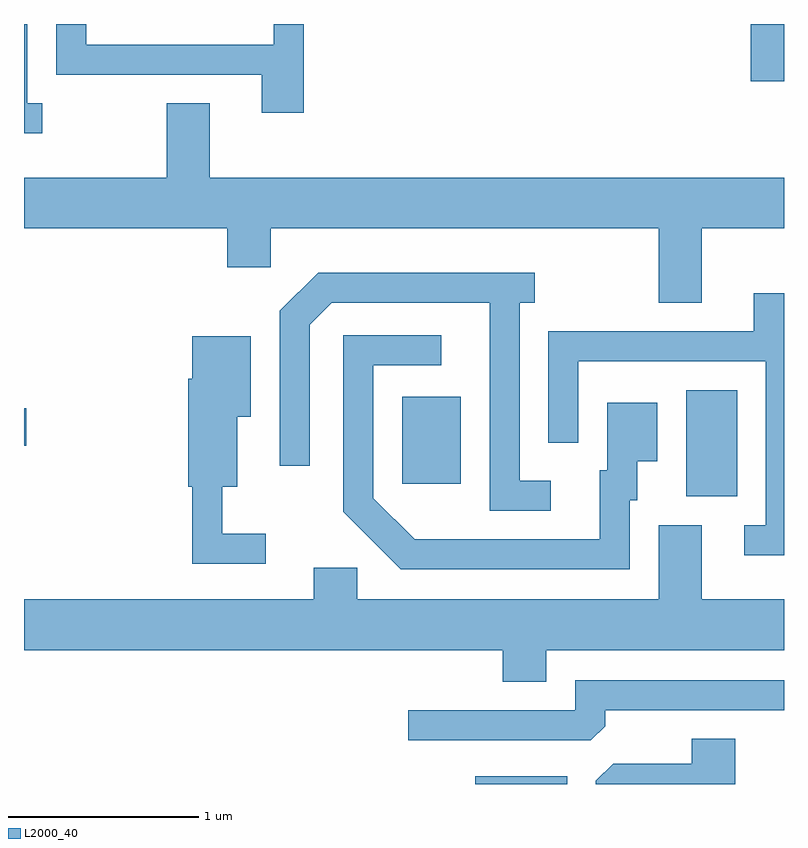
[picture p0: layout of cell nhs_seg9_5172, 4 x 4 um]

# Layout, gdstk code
import gdstk
lib = gdstk.Library(unit=1e-6, precision=1e-09)
def R(c, l, rs):  # rectangles x0, y0, x1, y1
    for r in rs: c.add(gdstk.rectangle(r[:2], r[2:], *l))
def P(c, l, *ps):  # polygons
    for p in ps: c.add(gdstk.Polygon(p, *l))
L2000_40 = (2000, 40)

nhs_seg9_5172 = lib.new_cell('nhs_seg9_5172')
R(nhs_seg9_5172, L2000_40, [(339.986,2004.432,340.469,2004.474), (341.096,2005.946,341.364,2006.504), (339.601,2006.011,339.909,2006.469), (337.611,2006.211,337.624,2006.409), (341.436,2008.131,341.611,2008.432)])
P(nhs_seg9_5172, L2000_40, [(339.084,2008.432),(338.926,2008.432),(338.926,2008.324),(337.939,2008.324),(337.939,2008.432),(337.781,2008.432),(337.781,2008.166),(338.861,2008.166),(338.861,2007.966),(339.084,2007.966)],
  [(337.708,2008.014),(337.629,2008.014),(337.629,2008.432),(337.611,2008.432),(337.611,2007.856),(337.708,2007.856)],
  [(341.179,2007.356),(341.611,2007.356),(341.611,2007.624),(338.589,2007.624),(338.589,2008.014),(338.361,2008.014),(338.361,2007.624),(337.611,2007.624),(337.611,2007.356),(338.681,2007.356),(338.681,2007.151),(338.909,2007.151),(338.909,2007.356),(340.951,2007.356),(340.951,2006.966),(341.179,2006.966)],
  [(340.383,2006.029),(340.219,2006.029),(340.219,2006.966),(340.298,2006.966),(340.298,2007.124),(339.159,2007.124),(338.956,2006.922),(338.956,2006.108),(339.114,2006.108),(339.114,2006.849),(339.232,2006.966),(340.061,2006.966),(340.061,2005.871),(340.383,2005.871)],
  [(341.611,2007.014),(341.451,2007.014),(341.451,2006.814),(340.371,2006.814),(340.371,2006.228),(340.529,2006.228),(340.529,2006.656),(341.516,2006.656),(341.516,2005.794),(341.403,2005.794),(341.403,2005.636),(341.611,2005.636)],
  [(340.799,2005.926),(340.839,2005.926),(340.839,2006.131),(340.944,2006.131),(340.944,2006.439),(340.681,2006.439),(340.681,2006.084),(340.641,2006.084),(340.641,2005.719),(339.667,2005.719),(339.449,2005.937),(339.449,2006.636),(339.808,2006.636),(339.808,2006.794),(339.291,2006.794),(339.291,2005.864),(339.594,2005.561),(340.799,2005.561)],
  [(338.883,2005.749),(338.654,2005.749),(338.654,2005.996),(338.734,2005.996),(338.734,2006.366),(338.804,2006.366),(338.804,2006.789),(338.496,2006.789),(338.496,2006.564),(338.476,2006.564),(338.476,2005.996),(338.496,2005.996),(338.496,2005.591),(338.883,2005.591)],
  [(340.359,2005.136),(341.611,2005.136),(341.611,2005.404),(341.179,2005.404),(341.179,2005.794),(340.951,2005.794),(340.951,2005.404),(339.364,2005.404),(339.364,2005.569),(339.136,2005.569),(339.136,2005.404),(337.611,2005.404),(337.611,2005.136),(340.131,2005.136),(340.131,2004.971),(340.359,2004.971)],
  [(340.669,2004.737),(340.669,2004.821),(341.611,2004.821),(341.611,2004.979),(340.511,2004.979),(340.511,2004.819),(339.633,2004.819),(339.633,2004.661),(340.594,2004.661)],
  [(341.354,2004.669),(341.126,2004.669),(341.126,2004.539),(340.712,2004.539),(340.621,2004.449),(340.621,2004.432),(341.354,2004.432)])

lib.write_gds('nhs_seg9_5172.gds')
